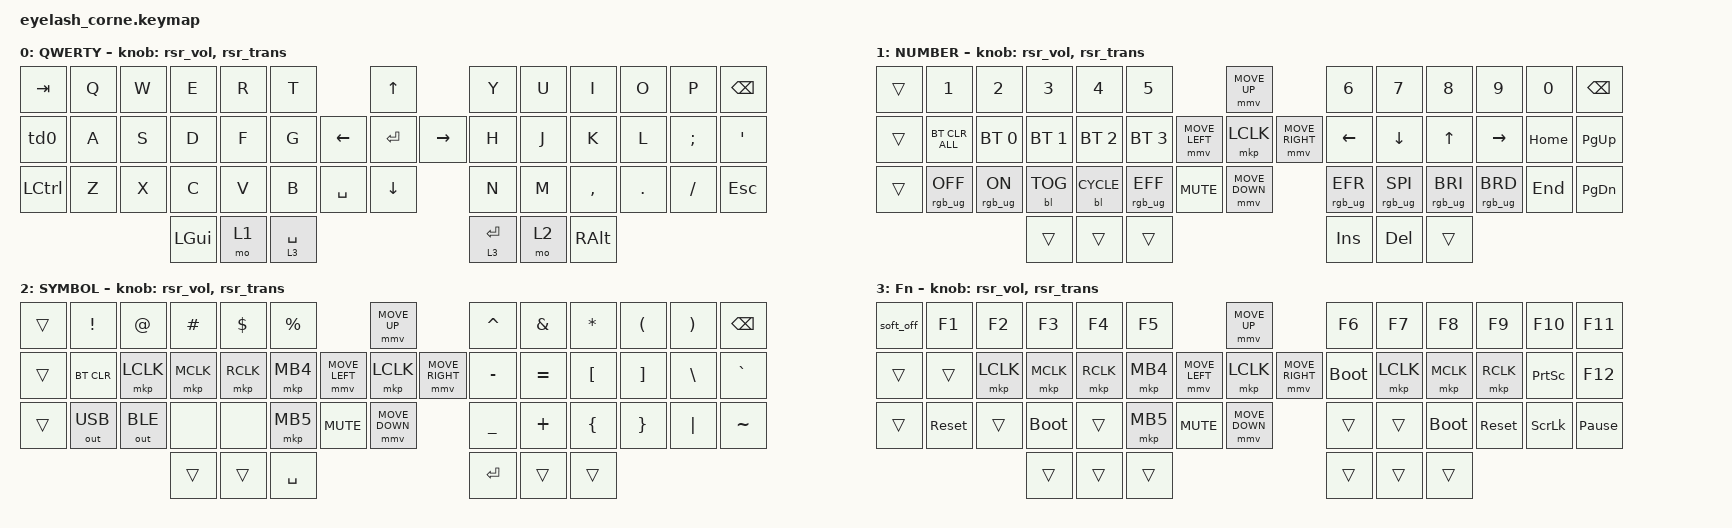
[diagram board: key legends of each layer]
// Mouse keys: faster pointer and scroll than ZMK's defaults (600 / 10).
// From the keyboard maker's config. Must stay above the includes.
#define ZMK_POINTING_DEFAULT_MOVE_VAL 1200
#define ZMK_POINTING_DEFAULT_SCRL_VAL 25

#include <input/processors.dtsi>
#include <zephyr/dt-bindings/input/input-event-codes.h>
#include <behaviors.dtsi>
#include <behaviors/runtime-sensor-rotate.dtsi>
#include <dt-bindings/zmk/backlight.h>
#include <dt-bindings/zmk/bt.h>
#include <dt-bindings/zmk/keys.h>
#include <dt-bindings/zmk/outputs.h>
#include <dt-bindings/zmk/pointing.h>
#include <dt-bindings/zmk/rgb.h>

// Thumb layer-taps (Space / Enter):
// - require-prior-idle-ms: if you pressed another key in the last 150 ms you are
//   mid-typing, so Space/Enter is sent instantly as a tap. No waiting to decide,
//   no accidental jump to the Fn layer while typing fast.
// - quick-tap-ms: tap then hold within 175 ms to auto-repeat Space/Enter.
&lt {
    quick-tap-ms = <175>;
    require-prior-idle-ms = <150>;
};

// Soft off: hold Space (Fn layer) + hold Tab for 2 s. Both halves switch fully
// off and draw no battery. Wake each half with one press of its reset button.
&soft_off { hold-time-ms = <2000>; };

/ {
    behaviors {
        td0: td0 {
            compatible = "zmk,behavior-tap-dance";
            display-name = "Shift/Caps Lock Tap Dance";
            #binding-cells = <0>;
            bindings = <&kp LEFT_SHIFT>, <&kp CAPS>;
        };

        // Encoder = volume. Runtime version so it can be remapped in DYA Studio
        // without reflashing (from the keyboard maker's config).
        rsr_vol: rsr_vol {
            compatible = "zmk,behavior-runtime-sensor-rotate";
            #sensor-binding-cells = <0>;
            tap-ms = <5>;
            cw-binding = <&kp C_VOL_UP>;
            ccw-binding = <&kp C_VOL_DN>;
        };

        rsr_trans: rsr_trans {
            compatible = "zmk,behavior-runtime-sensor-rotate";
            #sensor-binding-cells = <0>;
            tap-ms = <0>;
        };
    };

    // Joystick: arrows + Enter on the base layer, mouse pointer + left click
    // while any other layer is held.
    keymap {
        compatible = "zmk,keymap";

        default_layer {
            display-name = "QWERTY";
            bindings = <
&kp TAB    &kp Q  &kp W  &kp E     &kp R  &kp T                   &kp UP                &kp Y        &kp U  &kp I      &kp O    &kp P     &kp BSPC
&td0       &kp A  &kp S  &kp D     &kp F  &kp G        &kp LEFT   &kp ENTER  &kp RIGHT  &kp H        &kp J  &kp K      &kp L    &kp SEMI  &kp SQT
&kp LCTRL  &kp Z  &kp X  &kp C     &kp V  &kp B        &kp SPACE  &kp DOWN              &kp N        &kp M  &kp COMMA  &kp DOT  &kp FSLH  &kp ESC
                         &kp LGUI  &mo 1  &lt 3 SPACE                                   &lt 3 ENTER  &mo 2  &kp RALT
            >;
            sensor-bindings = <&rsr_vol &rsr_trans>;
        };

        lower_layer {
            display-name = "NUMBER";
            bindings = <
&trans  &kp N1           &kp N2          &kp N3        &kp N4        &kp N5                           &mmv MOVE_UP                     &kp N6           &kp N7           &kp N8           &kp N9           &kp N0    &kp BSPC
&trans  &bt BT_CLR_ALL   &bt BT_SEL 0    &bt BT_SEL 1  &bt BT_SEL 2  &bt BT_SEL 3     &mmv MOVE_LEFT  &mkp LCLK       &mmv MOVE_RIGHT  &kp LEFT         &kp DOWN         &kp UP           &kp RIGHT        &kp HOME  &kp PG_UP
&trans  &rgb_ug RGB_OFF  &rgb_ug RGB_ON  &bl BL_TOG    &bl BL_CYCLE  &rgb_ug RGB_EFF  &kp C_MUTE      &mmv MOVE_DOWN                   &rgb_ug RGB_EFR  &rgb_ug RGB_SPI  &rgb_ug RGB_BRI  &rgb_ug RGB_BRD  &kp END   &kp PG_DN
                                         &trans        &trans        &trans                                                            &kp INS          &kp DEL          &trans
            >;
            sensor-bindings = <&rsr_vol &rsr_trans>;
        };

        raise_layer {
            display-name = "SYMBOL";
            bindings = <
&trans  &kp EXCL      &kp AT        &kp HASH   &kp DLLR   &kp PRCNT                  &mmv MOVE_UP                     &kp CARET  &kp AMPS   &kp ASTRK  &kp LPAR  &kp RPAR  &kp BSPC
&trans  &bt BT_CLR    &mkp LCLK     &mkp MCLK  &mkp RCLK  &mkp MB4   &mmv MOVE_LEFT  &mkp LCLK       &mmv MOVE_RIGHT  &kp MINUS  &kp EQUAL  &kp LBKT   &kp RBKT  &kp BSLH  &kp GRAVE
&trans  &out OUT_USB  &out OUT_BLE  &none      &none      &mkp MB5   &kp C_MUTE      &mmv MOVE_DOWN                   &kp UNDER  &kp PLUS   &kp LBRC   &kp RBRC  &kp PIPE  &kp TILDE
                                    &trans     &trans     &kp SPACE                                                   &kp RET    &trans     &trans
            >;
            sensor-bindings = <&rsr_vol &rsr_trans>;
        };

        layer_3 {
            display-name = "Fn";
            bindings = <
&soft_off  &kp F1      &kp F2     &kp F3       &kp F4     &kp F5                    &mmv MOVE_UP                     &kp F6       &kp F7     &kp F8       &kp F9      &kp F10          &kp F11
&trans     &trans      &mkp LCLK  &mkp MCLK    &mkp RCLK  &mkp MB4  &mmv MOVE_LEFT  &mkp LCLK       &mmv MOVE_RIGHT  &bootloader  &mkp LCLK  &mkp MCLK    &mkp RCLK   &kp PRINTSCREEN  &kp F12
&trans     &sys_reset  &trans     &bootloader  &trans     &mkp MB5  &kp C_MUTE      &mmv MOVE_DOWN                   &trans       &trans     &bootloader  &sys_reset  &kp SCROLLLOCK   &kp PAUSE_BREAK
                                  &trans       &trans     &trans                                                     &trans       &trans     &trans
            >;
            sensor-bindings = <&rsr_vol &rsr_trans>;
        };
    };
};
